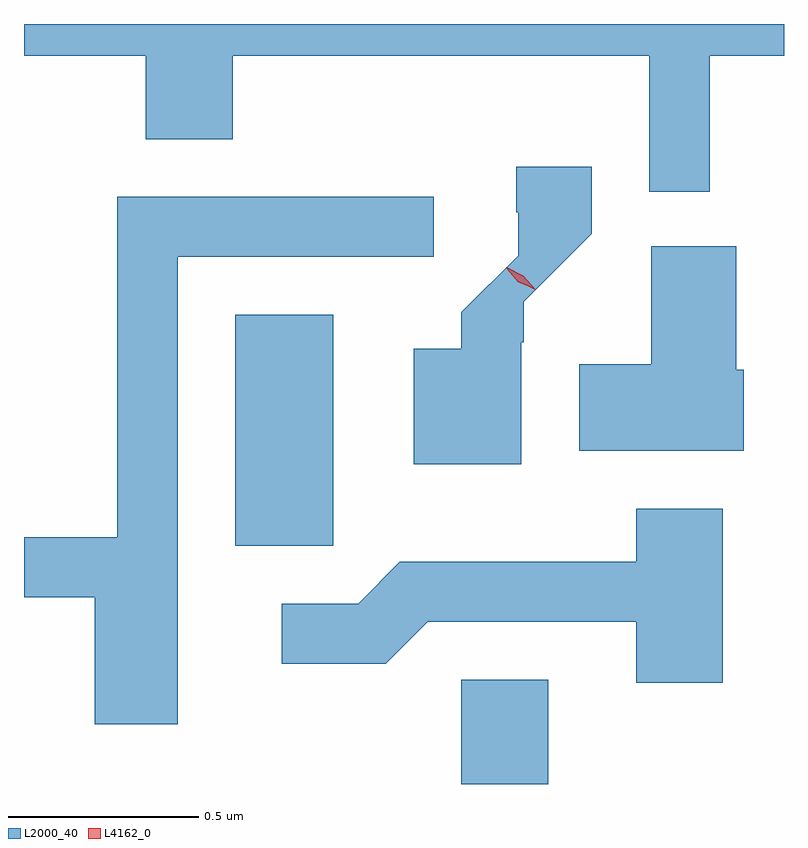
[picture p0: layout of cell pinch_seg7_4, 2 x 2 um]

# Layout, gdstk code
import gdstk
lib = gdstk.Library(unit=1e-6, precision=1e-09)
def R(c, l, rs):  # rectangles x0, y0, x1, y1
    for r in rs: c.add(gdstk.rectangle(r[:2], r[2:], *l))
def P(c, l, *ps):  # polygons
    for p in ps: c.add(gdstk.Polygon(p, *l))
L2000_40 = (2000, 40)
L4162_0 = (4162, 0)

pinch_seg7_4 = lib.new_cell('pinch_seg7_4')
R(pinch_seg7_4, L2000_40, [(1781.361,1781.219,1781.589,1781.494), (1780.766,1781.846,1781.024,1782.454)])
P(pinch_seg7_4, L2000_40, [(1782.014,1783.136),(1782.21,1783.136),(1782.21,1783.219),(1780.21,1783.219),(1780.21,1783.136),(1780.531,1783.136),(1780.531,1782.916),(1780.759,1782.916),(1780.759,1783.136),(1781.856,1783.136),(1781.856,1782.778),(1782.014,1782.778)],
  [(1781.519,1782.382),(1781.525,1782.382),(1781.525,1782.488),(1781.704,1782.667),(1781.704,1782.844),(1781.506,1782.844),(1781.506,1782.723),(1781.51,1782.723),(1781.51,1782.609),(1781.361,1782.46),(1781.361,1782.364),(1781.236,1782.364),(1781.236,1782.061),(1781.519,1782.061)],
  [(1780.614,1782.606),(1781.288,1782.606),(1781.288,1782.764),(1780.456,1782.764),(1780.456,1781.869),(1780.21,1781.869),(1780.21,1781.711),(1780.396,1781.711),(1780.396,1781.376),(1780.614,1781.376)],
  [(1782.104,1782.309),(1782.084,1782.309),(1782.084,1782.634),(1781.861,1782.634),(1781.861,1782.324),(1781.671,1782.324),(1781.671,1782.096),(1782.104,1782.096)],
  [(1782.049,1781.944),(1781.821,1781.944),(1781.821,1781.804),(1781.199,1781.804),(1781.089,1781.694),(1780.888,1781.694),(1780.888,1781.536),(1781.162,1781.536),(1781.272,1781.646),(1781.821,1781.646),(1781.821,1781.486),(1782.049,1781.486)])
P(pinch_seg7_4, L4162_0, [(1781.556,1782.52),(1781.512,1782.541),(1781.479,1782.578),(1781.479,1782.579),(1781.48,1782.579),(1781.524,1782.557),(1781.557,1782.52),(1781.557,1782.52)],
  [(1781.552,1782.523),(1781.511,1782.54),(1781.482,1782.573),(1781.482,1782.574),(1781.483,1782.574),(1781.523,1782.556),(1781.552,1782.524),(1781.552,1782.523)])

lib.write_gds('pinch_seg7_4.gds')
